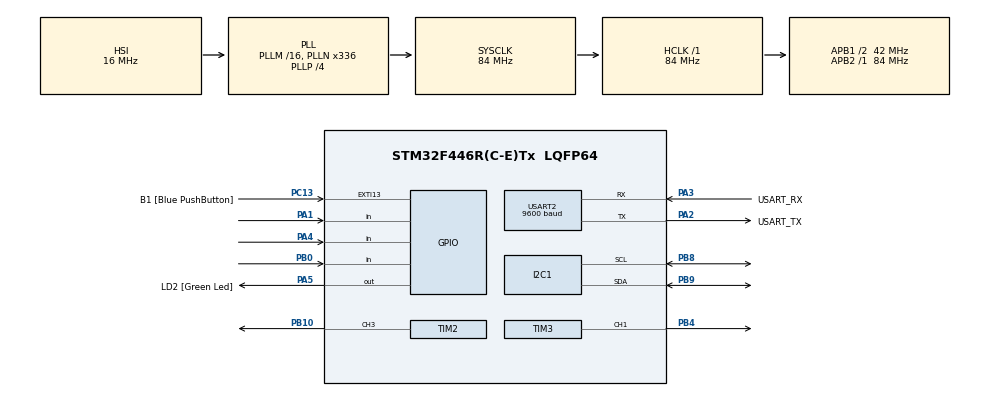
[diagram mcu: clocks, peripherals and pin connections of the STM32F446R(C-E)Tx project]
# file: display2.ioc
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Mcu.Family=STM32F4
Mcu.Name=STM32F446R(C-E)Tx
Mcu.Package=LQFP64
NVIC.PriorityGroup=NVIC_PRIORITYGROUP_0
PA1.Signal=GPIO_Input
PA13.GPIO_Label=TMS
PA13.Mode=Serial_Wire
PA13.Signal=SYS_JTMS-SWDIO
PA14.GPIO_Label=TCK
PA14.Mode=Serial_Wire
PA14.Signal=SYS_JTCK-SWCLK
PA2.GPIO_Label=USART_TX
PA2.Mode=Asynchronous
PA2.Signal=USART2_TX
PA3.GPIO_Label=USART_RX
PA3.Mode=Asynchronous
PA3.Signal=USART2_RX
PA4.Signal=GPIO_Input
PA5.GPIO_Label=LD2 [Green Led]
PA5.Signal=GPIO_Output
PB0.Signal=GPIO_Input
PB10.Signal=S_TIM2_CH3
PB3.GPIO_Label=SWO
PB3.Signal=SYS_JTDO-SWO
PB4.Signal=S_TIM3_CH1
PB8.Mode=I2C
PB8.Signal=I2C1_SCL
PB9.Mode=I2C
PB9.Signal=I2C1_SDA
PC13.GPIO_Label=B1 [Blue PushButton]
PC13.GPIO_ModeDefaultEXTI=GPIO_MODE_IT_FALLING
PC13.Signal=GPXTI13
PC14-OSC32_IN.Mode=LSE-External-Oscillator
PC14-OSC32_IN.Signal=RCC_OSC32_IN
PC15-OSC32_OUT.Mode=LSE-External-Oscillator
PC15-OSC32_OUT.Signal=RCC_OSC32_OUT
PH0-OSC_IN.Mode=HSE-External-Oscillator
PH0-OSC_IN.Signal=RCC_OSC_IN
PH1-OSC_OUT.Mode=HSE-External-Oscillator
PH1-OSC_OUT.Signal=RCC_OSC_OUT
ProjectManager.HeapSize=0x200
ProjectManager.StackSize=0x400
ProjectManager.TargetToolchain=STM32CubeIDE
RCC.48MHZClocksFreq_Value=84000000
RCC.AHBFreq_Value=84000000
RCC.APB1CLKDivider=RCC_HCLK_DIV2
RCC.APB1Freq_Value=42000000
RCC.APB1TimFreq_Value=84000000
RCC.APB2Freq_Value=84000000
RCC.APB2TimFreq_Value=84000000
RCC.CortexFreq_Value=84000000
RCC.FLatency-AdvancedSettings=FLASH_LATENCY_2
RCC.HCLKFreq_Value=84000000
RCC.HSE_VALUE=8000000
RCC.HSI_VALUE=16000000
RCC.PLLN=336
RCC.PLLP=RCC_PLLP_DIV4
RCC.SYSCLKFreq_VALUE=84000000
RCC.SYSCLKSource=RCC_SYSCLKSOURCE_PLLCLK
RCC.USBFreq_Value=168000000
RCC.VCOOutputFreq_Value=336000000
SH.S_TIM2_CH3.0=TIM2_CH3,PWM Generation3 CH3
SH.S_TIM3_CH1.0=TIM3_CH1,PWM Generation1 CH1
TIM2.Channel-PWM\ Generation3\ CH3=TIM_CHANNEL_3
TIM2.Period=9999
TIM2.Prescaler=8400
TIM2.Pulse-PWM\ Generation3\ CH3=800
TIM3.Channel-PWM\ Generation1\ CH1=TIM_CHANNEL_1
TIM3.Period=9000
TIM3.Prescaler=8400
TIM3.Pulse-PWM\ Generation1\ CH1=800
USART2.BaudRate=9600
USART2.VirtualMode=VM_ASYNC
VP_TIM2_VS_ClockSourceINT.Mode=Internal
VP_TIM3_VS_ClockSourceINT.Mode=Internal
board=NUCLEO-F446RE

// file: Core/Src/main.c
/* USER CODE BEGIN Header */
/**
  ******************************************************************************
  * @file           : main.c
  * @brief          : Main program body
  ******************************************************************************
  * @attention
  *
  * Copyright (c) 2023 STMicroelectronics.
  * All rights reserved.
  *
  * This software is licensed under terms that can be found in the LICENSE file
  * in the root directory of this software component.
  * If no LICENSE file comes with this software, it is provided AS-IS.
  *
  ******************************************************************************
  */
/* USER CODE END Header */
#include "main.h"

/* USER CODE BEGIN Includes */
#include "liquidcrystal_i2c.h"
#include "time.h"
#include"string.h"
#include <stdio.h>
#include <stdbool.h>

/* USER CODE END Includes */

I2C_HandleTypeDef hi2c1;

TIM_HandleTypeDef htim2;
TIM_HandleTypeDef htim3;

UART_HandleTypeDef huart2;

void SystemClock_Config(void);
static void MX_GPIO_Init(void);
static void MX_USART2_UART_Init(void);
static void MX_I2C1_Init(void);
static void MX_TIM3_Init(void);
static void MX_TIM2_Init(void);

/* USER CODE BEGIN 0 */
int x=0;
void stampa(int elem[],time_t now,int moob2[]);
void spersonaggio(int A);
int verifica(int elem[],int A,int deel,int moob2[]);
int updatea(int elem[],int c1);
int updatea2(int elem[],int c2,int moob[]);
/* USER CODE END 0 */

int main(void)
{
  /* USER CODE BEGIN 1 */
	char buf[1024]={'0'};

	GPIO_PinState GPIO_state1;
	GPIO_PinState GPIO_state2;
	GPIO_PinState GPIO_state3;
	bool isgoingveryleft = false;
	bool isgoingveryright = false;
//	GPIO_PinState GPIO_state;
	//GPIO_PinState GPIO_state2;

	 time_t now=time(NULL);
	 int j=0;
  /* USER CODE END 1 */

  /* MCU Configuration--------------------------------------------------------*/

  /* Reset of all peripherals, Initializes the Flash interface and the Systick. */
  HAL_Init();

  /* Configure the system clock */
  SystemClock_Config();

  /* Initialize all configured peripherals */
  MX_GPIO_Init();
  MX_USART2_UART_Init();
  MX_I2C1_Init();
  MX_TIM3_Init();
  MX_TIM2_Init();
  /* USER CODE BEGIN 2 */
  HAL_TIM_PWM_Start(&htim2, TIM_CHANNEL_3);
  HAL_TIM_PWM_Start(&htim3, TIM_CHANNEL_1);
  TIM2->CCR3=300;
  TIM3->CCR1=300;

  HD44780_Init(4);
  HD44780_Clear();
  HD44780_SetCursor(0,0);
  HD44780_PrintStr("HELLO");
  HD44780_SetCursor(10,1);
  HD44780_PrintStr("WORLD");
  HD44780_SetCursor(0,3);
  HD44780_PrintStr("____________________");
  HAL_Delay(1000);

  /* USER CODE END 2 */

  /* Infinite loop */
  while (1)
  {

    /* USER CODE BEGIN 3 */

	  j++;

	  GPIO_state1 =HAL_GPIO_ReadPin(GPIOA, GPIO_PIN_1);

	  GPIO_state2 =HAL_GPIO_ReadPin(GPIOA, GPIO_PIN_4);

	  GPIO_state3=HAL_GPIO_ReadPin(GPIOB, GPIO_PIN_0);

	 	/////////////////////////////////////////////////////////////////////////////////////////////////

	  if(GPIO_state2 == GPIO_PIN_SET && GPIO_state1 == GPIO_PIN_RESET && GPIO_state3 == GPIO_PIN_RESET){
		  HAL_GPIO_WritePin(GPIOB, GPIO_PIN_3, GPIO_PIN_SET);		//DESTRA
		  HAL_GPIO_WritePin(GPIOB, GPIO_PIN_5, GPIO_PIN_RESET);  	//SINISTRA
		  TIM2->CCR3=450;
		  TIM3->CCR1=450;
		  stampaSArrow(j%4);
		  HAL_Delay(200);
		  HD44780_Clear();

	  }
	  else if(GPIO_state2 == GPIO_PIN_SET && GPIO_state1 == GPIO_PIN_SET && GPIO_state3 == GPIO_PIN_RESET){

			  HAL_GPIO_WritePin(GPIOB, GPIO_PIN_3, GPIO_PIN_SET);				// RUOTA DESTRA  NORMALE
			  HAL_GPIO_WritePin(GPIOB, GPIO_PIN_5, GPIO_PIN_SET);				// CAMBIO VERSO RUOTA SINISTRA
			  TIM3->CCR1 = 450;													//RUOTA DX
			  TIM2->CCR3 = 350;

		  isgoingveryleft = false;
		  isgoingveryright = false;
		  stampalArrow(j%4);
		  HAL_Delay(200);
		  HD44780_Clear();

	  }
	  else if(GPIO_state2 == GPIO_PIN_RESET && GPIO_state1 == GPIO_PIN_SET && GPIO_state3 == GPIO_PIN_RESET){

			  HAL_GPIO_WritePin(GPIOB, GPIO_PIN_3, GPIO_PIN_SET);				// RUOTA DESTRA  NORMALE
			  HAL_GPIO_WritePin(GPIOB, GPIO_PIN_5, GPIO_PIN_SET);	            // RUOTA SINISTRA INDIETRO

			  TIM3->CCR1 = 500;
			  TIM2->CCR3 = 400;
			  stampalArrow(j%4);
			  HAL_Delay(200);
			  HD44780_Clear();
		  isgoingveryleft = true;
	  }
	  else if(GPIO_state2 == GPIO_PIN_SET && GPIO_state1 == GPIO_PIN_RESET && GPIO_state3 == GPIO_PIN_SET){

			  HAL_GPIO_WritePin(GPIOB, GPIO_PIN_3, GPIO_PIN_RESET);				//CAMBIO VERSO RUOTA DESTRA
			  HAL_GPIO_WritePin(GPIOB, GPIO_PIN_5, GPIO_PIN_RESET);  			//SINISTRA NORMALE

			  TIM3->CCR1 = 350;
			  TIM2->CCR3 = 450;
			  stamparArrow(j%4);
			  HAL_Delay(200);
			  HD44780_Clear();
		  isgoingveryright = false;
		  isgoingveryleft = false;

	  }
	  else if (GPIO_state2 == GPIO_PIN_RESET && GPIO_state1 == GPIO_PIN_RESET && GPIO_state3 == GPIO_PIN_SET){

			 HAL_GPIO_WritePin(GPIOB, GPIO_PIN_3, GPIO_PIN_RESET);				//RUOTA DESTRA
			 HAL_GPIO_WritePin(GPIOB, GPIO_PIN_5, GPIO_PIN_RESET);  			//SINISTRA NORMALE

			 TIM3->CCR1 = 400;
			 TIM2->CCR3 = 500;
			 stamparArrow(j%4);
			  HAL_Delay(200);
			  HD44780_Clear();
		  isgoingveryright = true;
	  }
	  else if(GPIO_state2 == GPIO_PIN_RESET && GPIO_state1 == GPIO_PIN_RESET && GPIO_state3 == GPIO_PIN_RESET){
		  if(isgoingveryleft){
			  HAL_GPIO_WritePin(GPIOB, GPIO_PIN_3, GPIO_PIN_SET);				// RUOTA DESTRA  NORMALE
			  HAL_GPIO_WritePin(GPIOB, GPIO_PIN_5, GPIO_PIN_SET);	            // RUOTA SINISTRA INDIETRO
			  TIM3->CCR1 = 600;
			  TIM2->CCR3 = 400;
			  stampalArrow(j%4);
			  HAL_Delay(200);
			  HD44780_Clear();

		  }
		  if(isgoingveryright){
			  HAL_GPIO_WritePin(GPIOB, GPIO_PIN_3, GPIO_PIN_RESET);				//RUOTA DESTRA
			  HAL_GPIO_WritePin(GPIOB, GPIO_PIN_5, GPIO_PIN_RESET);  			//SINISTRA NORMALE
		  	 TIM3->CCR1 = 400;
		  	 TIM2->CCR3 = 600;
		  	 stamparArrow(j%4);
		  	 HAL_Delay(200);
		  	HD44780_Clear();

		   }
	  }
	  HAL_Delay(1);

	  }
  /* USER CODE END 3 */
}

void SystemClock_Config(void)
{
  RCC_OscInitTypeDef RCC_OscInitStruct = {0};
  RCC_ClkInitTypeDef RCC_ClkInitStruct = {0};

  /** Configure the main internal regulator output voltage
  */
  __HAL_RCC_PWR_CLK_ENABLE();
  __HAL_PWR_VOLTAGESCALING_CONFIG(PWR_REGULATOR_VOLTAGE_SCALE3);

  /** Initializes the RCC Oscillators according to the specified parameters
  * in the RCC_OscInitTypeDef structure.
  */
  RCC_OscInitStruct.OscillatorType = RCC_OSCILLATORTYPE_HSI;
  RCC_OscInitStruct.HSIState = RCC_HSI_ON;
  RCC_OscInitStruct.HSICalibrationValue = RCC_HSICALIBRATION_DEFAULT;
  RCC_OscInitStruct.PLL.PLLState = RCC_PLL_ON;
  RCC_OscInitStruct.PLL.PLLSource = RCC_PLLSOURCE_HSI;
  RCC_OscInitStruct.PLL.PLLM = 16;
  RCC_OscInitStruct.PLL.PLLN = 336;
  RCC_OscInitStruct.PLL.PLLP = RCC_PLLP_DIV4;
  RCC_OscInitStruct.PLL.PLLQ = 2;
  RCC_OscInitStruct.PLL.PLLR = 2;
  if (HAL_RCC_OscConfig(&RCC_OscInitStruct) != HAL_OK)
  {
    Error_Handler();
  }

  /** Initializes the CPU, AHB and APB buses clocks
  */
  RCC_ClkInitStruct.ClockType = RCC_CLOCKTYPE_HCLK|RCC_CLOCKTYPE_SYSCLK
                              |RCC_CLOCKTYPE_PCLK1|RCC_CLOCKTYPE_PCLK2;
  RCC_ClkInitStruct.SYSCLKSource = RCC_SYSCLKSOURCE_PLLCLK;
  RCC_ClkInitStruct.AHBCLKDivider = RCC_SYSCLK_DIV1;
  RCC_ClkInitStruct.APB1CLKDivider = RCC_HCLK_DIV2;
  RCC_ClkInitStruct.APB2CLKDivider = RCC_HCLK_DIV1;

  if (HAL_RCC_ClockConfig(&RCC_ClkInitStruct, FLASH_LATENCY_2) != HAL_OK)
  {
    Error_Handler();
  }
}

static void MX_I2C1_Init(void)
{

  hi2c1.Instance = I2C1;
  hi2c1.Init.ClockSpeed = 100000;
  hi2c1.Init.DutyCycle = I2C_DUTYCYCLE_2;
  hi2c1.Init.OwnAddress1 = 0;
  hi2c1.Init.AddressingMode = I2C_ADDRESSINGMODE_7BIT;
  hi2c1.Init.DualAddressMode = I2C_DUALADDRESS_DISABLE;
  hi2c1.Init.OwnAddress2 = 0;
  hi2c1.Init.GeneralCallMode = I2C_GENERALCALL_DISABLE;
  hi2c1.Init.NoStretchMode = I2C_NOSTRETCH_DISABLE;
  if (HAL_I2C_Init(&hi2c1) != HAL_OK)
  {
    Error_Handler();
  }

}

static void MX_TIM2_Init(void)
{

  TIM_ClockConfigTypeDef sClockSourceConfig = {0};
  TIM_MasterConfigTypeDef sMasterConfig = {0};
  TIM_OC_InitTypeDef sConfigOC = {0};

  htim2.Instance = TIM2;
  htim2.Init.Prescaler = 8400;
  htim2.Init.CounterMode = TIM_COUNTERMODE_UP;
  htim2.Init.Period = 9999;
  htim2.Init.ClockDivision = TIM_CLOCKDIVISION_DIV1;
  htim2.Init.AutoReloadPreload = TIM_AUTORELOAD_PRELOAD_DISABLE;
  if (HAL_TIM_Base_Init(&htim2) != HAL_OK)
  {
    Error_Handler();
  }
  sClockSourceConfig.ClockSource = TIM_CLOCKSOURCE_INTERNAL;
  if (HAL_TIM_ConfigClockSource(&htim2, &sClockSourceConfig) != HAL_OK)
  {
    Error_Handler();
  }
  if (HAL_TIM_PWM_Init(&htim2) != HAL_OK)
  {
    Error_Handler();
  }
  sMasterConfig.MasterOutputTrigger = TIM_TRGO_RESET;
  sMasterConfig.MasterSlaveMode = TIM_MASTERSLAVEMODE_DISABLE;
  if (HAL_TIMEx_MasterConfigSynchronization(&htim2, &sMasterConfig) != HAL_OK)
  {
    Error_Handler();
  }
  sConfigOC.OCMode = TIM_OCMODE_PWM1;
  sConfigOC.Pulse = 800;
  sConfigOC.OCPolarity = TIM_OCPOLARITY_HIGH;
  sConfigOC.OCFastMode = TIM_OCFAST_DISABLE;
  if (HAL_TIM_PWM_ConfigChannel(&htim2, &sConfigOC, TIM_CHANNEL_3) != HAL_OK)
  {
    Error_Handler();
  }
  HAL_TIM_MspPostInit(&htim2);

}

static void MX_TIM3_Init(void)
{

  TIM_ClockConfigTypeDef sClockSourceConfig = {0};
  TIM_MasterConfigTypeDef sMasterConfig = {0};
  TIM_OC_InitTypeDef sConfigOC = {0};

  htim3.Instance = TIM3;
  htim3.Init.Prescaler = 8400;
  htim3.Init.CounterMode = TIM_COUNTERMODE_UP;
  htim3.Init.Period = 9000;
  htim3.Init.ClockDivision = TIM_CLOCKDIVISION_DIV1;
  htim3.Init.AutoReloadPreload = TIM_AUTORELOAD_PRELOAD_DISABLE;
  if (HAL_TIM_Base_Init(&htim3) != HAL_OK)
  {
    Error_Handler();
  }
  sClockSourceConfig.ClockSource = TIM_CLOCKSOURCE_INTERNAL;
  if (HAL_TIM_ConfigClockSource(&htim3, &sClockSourceConfig) != HAL_OK)
  {
    Error_Handler();
  }
  if (HAL_TIM_PWM_Init(&htim3) != HAL_OK)
  {
    Error_Handler();
  }
  sMasterConfig.MasterOutputTrigger = TIM_TRGO_RESET;
  sMasterConfig.MasterSlaveMode = TIM_MASTERSLAVEMODE_DISABLE;
  if (HAL_TIMEx_MasterConfigSynchronization(&htim3, &sMasterConfig) != HAL_OK)
  {
    Error_Handler();
  }
  sConfigOC.OCMode = TIM_OCMODE_PWM1;
  sConfigOC.Pulse = 800;
  sConfigOC.OCPolarity = TIM_OCPOLARITY_HIGH;
  sConfigOC.OCFastMode = TIM_OCFAST_DISABLE;
  if (HAL_TIM_PWM_ConfigChannel(&htim3, &sConfigOC, TIM_CHANNEL_1) != HAL_OK)
  {
    Error_Handler();
  }
  HAL_TIM_MspPostInit(&htim3);

}

static void MX_USART2_UART_Init(void)
{

  huart2.Instance = USART2;
  huart2.Init.BaudRate = 9600;
  huart2.Init.WordLength = UART_WORDLENGTH_8B;
  huart2.Init.StopBits = UART_STOPBITS_1;
  huart2.Init.Parity = UART_PARITY_NONE;
  huart2.Init.Mode = UART_MODE_TX_RX;
  huart2.Init.HwFlowCtl = UART_HWCONTROL_NONE;
  huart2.Init.OverSampling = UART_OVERSAMPLING_16;
  if (HAL_UART_Init(&huart2) != HAL_OK)
  {
    Error_Handler();
  }

}

static void MX_GPIO_Init(void)
{
  GPIO_InitTypeDef GPIO_InitStruct = {0};

  /* GPIO Ports Clock Enable */
  __HAL_RCC_GPIOC_CLK_ENABLE();
  __HAL_RCC_GPIOH_CLK_ENABLE();
  __HAL_RCC_GPIOA_CLK_ENABLE();
  __HAL_RCC_GPIOB_CLK_ENABLE();

  /*Configure GPIO pin Output Level */
  HAL_GPIO_WritePin(LD2_GPIO_Port, LD2_Pin, GPIO_PIN_RESET);

  /*Configure GPIO pin : B1_Pin */
  GPIO_InitStruct.Pin = B1_Pin;
  GPIO_InitStruct.Mode = GPIO_MODE_IT_FALLING;
  GPIO_InitStruct.Pull = GPIO_NOPULL;
  HAL_GPIO_Init(B1_GPIO_Port, &GPIO_InitStruct);

  /*Configure GPIO pins : PA1 PA4 */
  GPIO_InitStruct.Pin = GPIO_PIN_1|GPIO_PIN_4;
  GPIO_InitStruct.Mode = GPIO_MODE_INPUT;
  GPIO_InitStruct.Pull = GPIO_NOPULL;
  HAL_GPIO_Init(GPIOA, &GPIO_InitStruct);

  /*Configure GPIO pin : LD2_Pin */
  GPIO_InitStruct.Pin = LD2_Pin;
  GPIO_InitStruct.Mode = GPIO_MODE_OUTPUT_PP;
  GPIO_InitStruct.Pull = GPIO_NOPULL;
  GPIO_InitStruct.Speed = GPIO_SPEED_FREQ_LOW;
  HAL_GPIO_Init(LD2_GPIO_Port, &GPIO_InitStruct);

  /*Configure GPIO pin : PB0 */
  GPIO_InitStruct.Pin = GPIO_PIN_0;
  GPIO_InitStruct.Mode = GPIO_MODE_INPUT;
  GPIO_InitStruct.Pull = GPIO_NOPULL;
  HAL_GPIO_Init(GPIOB, &GPIO_InitStruct);

}

/* USER CODE BEGIN 4 */
void stampa(int elem[],time_t now,int moob2[]){

	for(int i=0;i<23;i++){
		if(elem[i]==1&&i<20){
		    	HD44780_SetCursor(i,2);
		    	HD44780_PrintSpecialChar(7);
		}
		if(moob2[i]==1&&i<20){
				    	HD44780_SetCursor(i,0);
				    	HD44780_PrintSpecialChar(0);
				}
		if(i<22 /*&& elem[i]==1 && elem[i+1]==0*/){
			elem[i]=elem[i+1];
			moob2[i]=moob2[i+1];
		}
	}

	elem[22]=0;
	moob2[22]=0;

}
void stamparArrow(int j){

	  HD44780_SetCursor(15+j,1);
	  HD44780_PrintSpecialChar(7);
	  HD44780_SetCursor(15+j,2);
	  HD44780_PrintSpecialChar(6);
	  HD44780_SetCursor(14+j,1);
	  HD44780_PrintSpecialChar(5);
	  HD44780_SetCursor(14+j,2);
	  HD44780_PrintSpecialChar(5);
	  HD44780_SetCursor(13+j,0);
	  HD44780_PrintSpecialChar(7);
	  HD44780_SetCursor(13+j,1);
	  HD44780_PrintSpecialChar(5);
	  HD44780_SetCursor(13+j,2);
	  HD44780_PrintSpecialChar(5);
	  HD44780_SetCursor(13+j,3);
	  HD44780_PrintSpecialChar(6);
	  HD44780_SetCursor(12+j,0);
	  HD44780_PrintSpecialChar(5);
	  HD44780_SetCursor(12+j,1);
	  HD44780_PrintSpecialChar(5);
	  HD44780_SetCursor(12+j,2);
	  HD44780_PrintSpecialChar(5);
	  HD44780_SetCursor(12+j,3);
	  HD44780_PrintSpecialChar(5);
	  HD44780_SetCursor(11+j,1);
	  HD44780_PrintSpecialChar(5);
	  HD44780_SetCursor(11+j,2);
	  HD44780_PrintSpecialChar(5);
	  HD44780_SetCursor(10+j,1);
	  HD44780_PrintSpecialChar(5);
	  HD44780_SetCursor(10+j,2);
	  HD44780_PrintSpecialChar(5);
	  HD44780_SetCursor(9+j,1);
	  HD44780_PrintSpecialChar(5);
	  HD44780_SetCursor(9+j,2);
	  HD44780_PrintSpecialChar(5);

}

void stampalArrow(int j){

	  HD44780_SetCursor(4-j,1);
	  HD44780_PrintSpecialChar(7);
	  HD44780_SetCursor(4-j,2);
	  HD44780_PrintSpecialChar(6);
	  HD44780_SetCursor(5-j,1);
	  HD44780_PrintSpecialChar(5);
	  HD44780_SetCursor(5-j,2);
	  HD44780_PrintSpecialChar(5);
	  HD44780_SetCursor(6-j,0);
	  HD44780_PrintSpecialChar(7);
	  HD44780_SetCursor(6-j,1);
	  HD44780_PrintSpecialChar(5);
	  HD44780_SetCursor(6-j,2);
	  HD44780_PrintSpecialChar(5);
	  HD44780_SetCursor(6-j,3);
	  HD44780_PrintSpecialChar(6);
	  HD44780_SetCursor(7-j,0);
	  HD44780_PrintSpecialChar(5);
	  HD44780_SetCursor(7-j,1);
	  HD44780_PrintSpecialChar(5);
	  HD44780_SetCursor(7-j,2);
	  HD44780_PrintSpecialChar(5);
	  HD44780_SetCursor(7-j,3);
	  HD44780_PrintSpecialChar(5);
	  HD44780_SetCursor(8-j,1);
	  HD44780_PrintSpecialChar(5);
	  HD44780_SetCursor(8-j,2);
	  HD44780_PrintSpecialChar(5);
	  HD44780_SetCursor(9-j,1);
	  HD44780_PrintSpecialChar(5);
	  HD44780_SetCursor(9-j,2);
	  HD44780_PrintSpecialChar(5);
	  HD44780_SetCursor(10-j,1);
	  HD44780_PrintSpecialChar(5);
	  HD44780_SetCursor(10-j,2);
	  HD44780_PrintSpecialChar(5);

}

int verifica(int elem[],int A,int deel,int moob2[]){
	if((elem[1]==1 && A==1) ||(moob2[1]==1 && A==0) ){
		HD44780_Clear();
		HD44780_SetCursor(10,0);
		HD44780_PrintStr("GAME");
		HD44780_SetCursor(10,1);
		HD44780_PrintStr("OVER");
		HAL_Delay (2000);
		for(int i=0;i<23;i++){
			elem[i]=0;
			moob2[i]=0;
		}
		deel=0;
	}
	return 1;
}

void spersonaggio(int A){
						  HD44780_SetCursor(0,A);
	    	        	  HD44780_PrintSpecialChar(1);
	    	        	  HD44780_SetCursor(1,A);
	    	        	  HD44780_PrintSpecialChar(2);
	    	        	  HD44780_SetCursor(2,A);
	    	        	  HD44780_PrintSpecialChar(3);
	    	        	  HD44780_SetCursor(0,A+1);
	    	        	  HD44780_PrintSpecialChar(4);
	    	        	  HD44780_SetCursor(1,A+1);
	    	        	  HD44780_PrintSpecialChar(5);
	    	        	  HD44780_SetCursor(2,A+1);
	    	        	  HD44780_PrintSpecialChar(6);

}
void stampaSArrow(int j){
						  HD44780_SetCursor(9,2-j);
	    	        	  HD44780_PrintSpecialChar(0);
	    	        	  HD44780_SetCursor(10,2-j);
	    	        	  HD44780_PrintSpecialChar(1);
	    	        	  HD44780_SetCursor(9,3-j);
	    	        	  HD44780_PrintSpecialChar(5);
	    	        	  HD44780_SetCursor(10,3-j);
	    	        	  HD44780_PrintSpecialChar(5);
	    	        	  HD44780_SetCursor(8,4-j);
	    	        	  HD44780_PrintSpecialChar(0);
	    	        	  HD44780_SetCursor(9,4-j);
	    	        	  HD44780_PrintSpecialChar(5);
	    	        	  HD44780_SetCursor(10,4-j);
	    	        	  HD44780_PrintSpecialChar(5);
	    	        	  HD44780_SetCursor(11,4-j);
	    	        	  HD44780_PrintSpecialChar(1);
	    	        	  HD44780_SetCursor(8,5-j);
	    	        	  HD44780_PrintSpecialChar(5);
	    	        	  HD44780_SetCursor(9,5-j);
	    	        	  HD44780_PrintSpecialChar(5);
	    	        	  HD44780_SetCursor(10,5-j);
	    	        	  HD44780_PrintSpecialChar(5);
	    	        	  HD44780_SetCursor(11,5-j);
	    	        	  HD44780_PrintSpecialChar(5);

}
int updatea(int elem[],int c1){

    int y=0;
    y = rand()%6;
	  //printf("numero random : %d",y);
	  if(c1==5){
      //printf("condizione ...\n");
      c1=0;
      switch(y){
       case 0:
          elem[20]=0;
          elem[21]=1;
          elem[22]=0;
       break;

        case 1:
          elem[20]=1;
          elem[21]=1;
          elem[22]=0;
        break;

        case 2:
          elem[20]=1;
          elem[21]=1;
          elem[22]=1;
        break;
        case 3:
          elem[20]=1;
          elem[21]=0;
          elem[22]=1;
        break;
        case 4:
          elem[20]=0;
          elem[21]=1;
          elem[22]=1;
       break;
       case 5:
          elem[20]=1;
          elem[21]=0;
          elem[22]=0;
       break;
       default:
          elem[20]=0;
          elem[21]=0;
          elem[22]=0;
      }
	 }
    return c1;
}

int updatea2(int elem[],int c2,int moob[]){

    for(int i=0;i<16;i++){
        if(elem[i]==0 && elem[i+1]==0 && elem[i+2]==0){
          moob[i]=0;
          moob[i+1]=1;
          moob[i+2]=0;
        }
        if(elem[i]==1&&moob[i]==1){
          moob[i]=0;
        }

    }
    return c2;
}

/* USER CODE END 4 */

void Error_Handler(void)
{
  __disable_irq();
  while (1)
  {
  }
}
